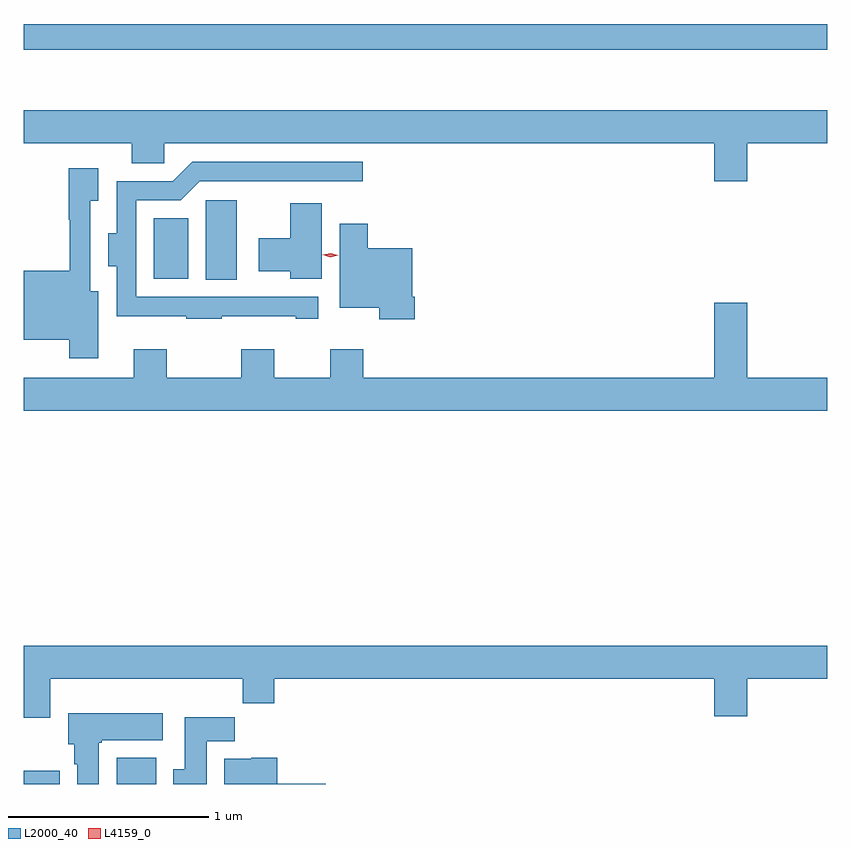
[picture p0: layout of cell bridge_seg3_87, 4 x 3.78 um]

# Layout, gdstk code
import gdstk
lib = gdstk.Library(unit=1e-6, precision=1e-09)
def R(c, l, rs):  # rectangles x0, y0, x1, y1
    for r in rs: c.add(gdstk.rectangle(r[:2], r[2:], *l))
def P(c, l, *ps):  # polygons
    for p in ps: c.add(gdstk.Polygon(p, *l))
L2000_40 = (2000, 40)
L4159_0 = (4159, 0)

bridge_seg3_87 = lib.new_cell('bridge_seg3_87')
R(bridge_seg3_87, L2000_40, [(425.306,707.051,425.485,707.116), (425.768,707.051,425.965,707.182), (426.212,709.561,426.367,709.956), (425.954,709.565,426.124,709.867), (425.306,710.706,429.306,710.834)])
P(bridge_seg3_87, L2000_40, [(428.908,710.24),(429.306,710.24),(429.306,710.404),(425.306,710.404),(425.306,710.24),(425.843,710.24),(425.843,710.142),(426.006,710.142),(426.006,710.24),(428.744,710.24),(428.744,710.052),(428.908,710.052)],
  [(426.293,709.379),(426.659,709.379),(426.659,709.368),(426.772,709.368),(426.772,709.476),(425.865,709.476),(425.865,709.956),(426.087,709.956),(426.183,710.052),(426.994,710.052),(426.994,710.148),(426.144,710.148),(426.048,710.052),(425.768,710.052),(425.768,709.792),(425.726,709.792),(425.726,709.628),(425.769,709.628),(425.769,709.379),(426.115,709.379),(426.115,709.368),(426.293,709.368)],
  [(425.677,709.504),(425.637,709.504),(425.637,709.955),(425.677,709.955),(425.677,710.116),(425.529,710.116),(425.529,709.859),(425.536,709.859),(425.536,709.606),(425.306,709.606),(425.306,709.262),(425.533,709.262),(425.533,709.17),(425.677,709.17)],
  [(426.79,709.942),(426.632,709.942),(426.632,709.768),(426.477,709.768),(426.477,709.604),(426.632,709.604),(426.632,709.565),(426.79,709.565)],
  [(427.253,709.477),(427.24,709.477),(427.24,709.717),(427.019,709.717),(427.019,709.84),(426.878,709.84),(426.878,709.421),(427.075,709.421),(427.075,709.365),(427.253,709.365)],
  [(429.306,709.072),(428.908,709.072),(428.908,709.447),(428.744,709.447),(428.744,709.072),(426.997,709.072),(426.997,709.216),(426.833,709.216),(426.833,709.072),(426.553,709.072),(426.553,709.216),(426.389,709.216),(426.389,709.072),(426.019,709.072),(426.019,709.216),(425.855,709.216),(425.855,709.072),(425.306,709.072),(425.306,708.908),(429.306,708.908)],
  [(425.437,707.576),(426.397,707.576),(426.397,707.452),(426.554,707.452),(426.554,707.576),(428.744,707.576),(428.744,707.388),(428.908,707.388),(428.908,707.576),(429.306,707.576),(429.306,707.74),(425.306,707.74),(425.306,707.382),(425.437,707.382)],
  [(425.68,707.257),(425.694,707.257),(425.694,707.27),(425.998,707.27),(425.998,707.404),(425.528,707.404),(425.528,707.25),(425.558,707.25),(425.558,707.15),(425.573,707.15),(425.573,707.051),(425.68,707.051)],
  [(426.217,707.264),(426.356,707.264),(426.356,707.383),(426.107,707.383),(426.107,707.124),(426.05,707.124),(426.05,707.051),(426.217,707.051)],
  [(426.809,707.053),(426.569,707.053),(426.569,707.182),(426.438,707.182),(426.438,707.176),(426.305,707.176),(426.305,707.051),(426.809,707.051)])
P(bridge_seg3_87, L4159_0, [(426.833,709.674),(426.795,709.685),(426.795,709.685),(426.795,709.685),(426.834,709.694),(426.872,709.683),(426.872,709.683),(426.872,709.683)])

lib.write_gds('bridge_seg3_87.gds')
